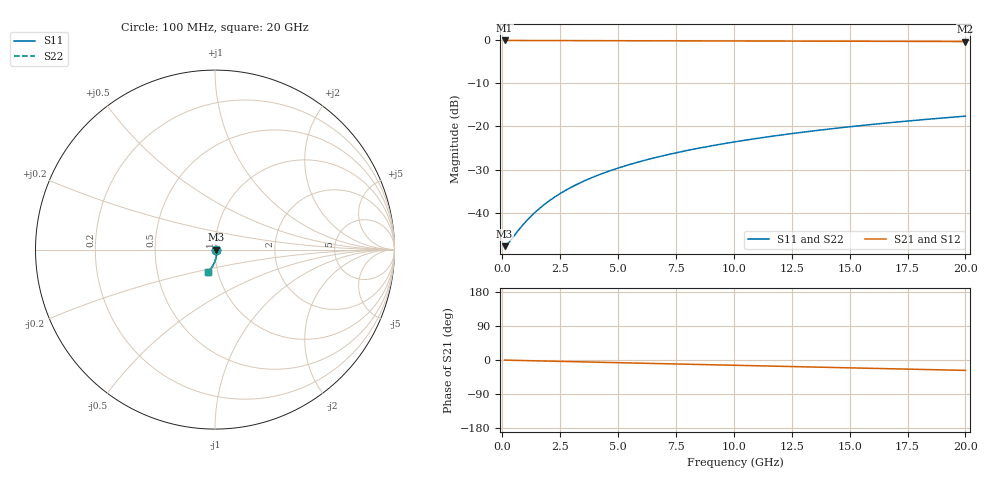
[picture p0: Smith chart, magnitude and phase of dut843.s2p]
! Touchstone file exported from HFSS 2026.1.0
!  File:  C:/ffzhzh/LocalFiles/Ansys_Project_Files/temp_train_BSMRDL_843_1783170419_55132.aedt
!  Generated:  09:08:04 PM Jul  4, 2026
!  Design:  BSMRDL
!  Project:  temp_train_BSMRDL_843_1783170419_55132
! Variables:
!  h_bsmrdl = 2.08um
!  h_ox = 20um
!  h_rdl = 5um
!  h_sub = 80um
!  h_tmrdl = 5um
!  h_tsv = 80um
!  h_via = 3um
!  l_bsmrdl = 451.1um
!  l_sub = 851.1um
!  l_tmrdl = 200um
!  m_sub = 200um
!  pitch = 21.95um
!  r_tsv = 6um
!  s_tmrdl = 10um
!  w_bsmrdl = 20.7um
!  w_sub = 500um
!  w_tmrdl = 12um
!  x_tsv_center1 = 206um
!  x_tsv_center2 = 677.8um
!  x_tsv_center3 = 889.8um
!  x_tsv_center4 = 1361.6um
!  x_tsv_center5 = 1573.6um
!  x_tsv_center6 = 2045.4um
# GHz S MA R 50.000000
! Terminal data exported
! Port[1] = BSM_RDL1_1_T1
! Port[2] = BSM_RDL1_1_T2
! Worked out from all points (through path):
!   200 points, 100 MHz to 20 GHz, reference 50 ohm
!   highest |S21| = -0.04 dB at 100 MHz (marker M1); lowest = -0.3 dB at 20 GHz (marker M2)
!   group delay of S21, straight-line fit = 3.79 ps
!   lowest |S11| = -47.8 dB at 100 MHz (marker M3), VSWR 1.01, Z = 50.4 - j0.00192 ohm
!   |S11| at or under -10 dB: start of sweep to end of sweep
!   |S22| runs from -47.8 to -17.6 dB; largest |S21 - S12| = 7.1e-15
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0.1  0.004074 -0.3  0.9959 -0.2  0.9959 -0.2  0.004074 -0.3
! Gamma 0 0 0 0
! Port Impedance 50 0 50 0
0.2  0.004262 -1.1  0.9957 -0.4  0.9957 -0.4  0.004262 -1.1
0.3  0.00455 -2.7  0.9955 -0.5  0.9955 -0.5  0.00455 -2.7
0.8  0.00674 -18.9  0.9936 -1.3  0.9936 -1.3  0.006737 -18.9
1.1  0.008305 -29.0  0.9926 -1.7  0.9926 -1.7  0.0083 -29.0
1.4  0.009972 -37.4  0.9918 -2.1  0.9918 -2.1  0.009964 -37.4
1.7  0.01172 -44.2  0.9912 -2.6  0.9912 -2.6  0.01171 -44.3
2.1  0.01414 -51.5  0.9905 -3.1  0.9905 -3.1  0.01413 -51.5
2.5  0.01663 -57.1  0.99 -3.7  0.99 -3.7  0.01662 -57.1
3  0.01982 -62.6  0.9894 -4.3  0.9894 -4.3  0.0198 -62.6
3.5  0.02305 -66.9  0.9889 -5.0  0.9889 -5.0  0.02303 -67.0
4.2  0.02761 -71.6  0.9883 -6.0  0.9883 -6.0  0.02758 -71.7
5  0.03286 -75.8  0.9876 -7.1  0.9876 -7.1  0.03283 -75.9
5.9  0.03879 -79.6  0.9868 -8.3  0.9868 -8.3  0.03876 -79.7
6.8  0.04474 -82.6  0.986 -9.5  0.986 -9.5  0.0447 -82.8
8.3  0.05469 -86.7  0.9845 -11.6  0.9845 -11.6  0.05463 -87.0
10.1  0.06665 -90.8  0.9825 -14.1  0.9825 -14.1  0.06656 -91.1
11.7  0.07728 -93.9  0.9805 -16.3  0.9805 -16.3  0.07718 -94.2
13.4  0.08857 -96.9  0.9781 -18.6  0.9781 -18.6  0.08845 -97.3
15  0.09915 -99.6  0.9757 -20.7  0.9757 -20.7  0.09901 -100.0
16.7  0.1103 -102.3  0.973 -23.0  0.973 -23.0  0.1102 -102.7
20  0.1317 -107.2  0.9674 -27.4  0.9674 -27.4  0.1314 -107.7
